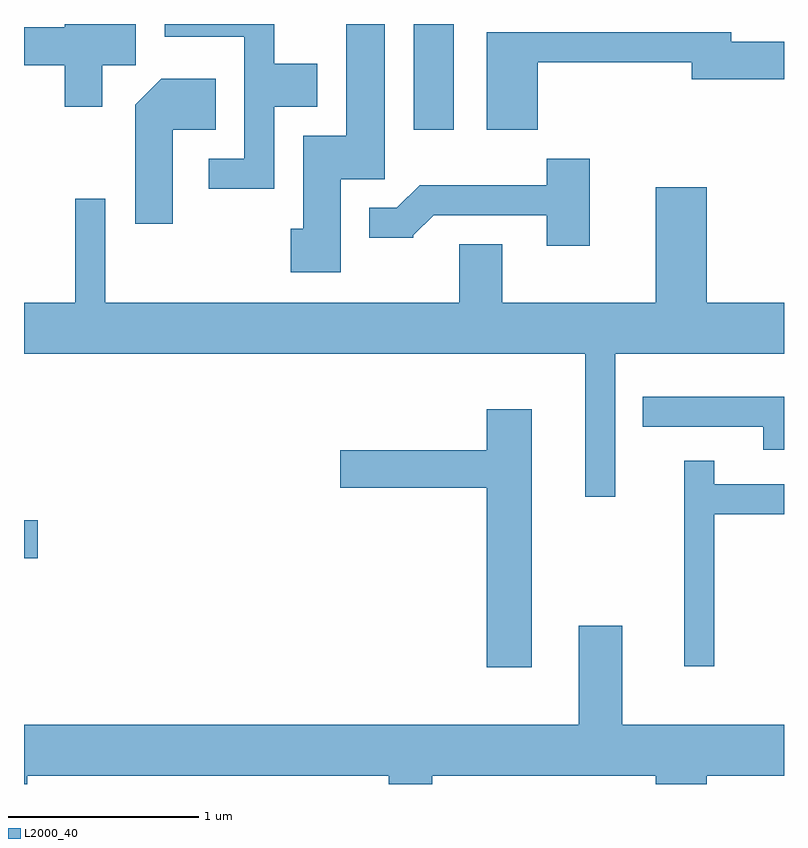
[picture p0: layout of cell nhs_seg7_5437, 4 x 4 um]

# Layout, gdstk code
import gdstk
lib = gdstk.Library(unit=1e-6, precision=1e-09)
def R(c, l, rs):  # rectangles x0, y0, x1, y1
    for r in rs: c.add(gdstk.rectangle(r[:2], r[2:], *l))
def P(c, l, *ps):  # polygons
    for p in ps: c.add(gdstk.Polygon(p, *l))
L2000_40 = (2000, 40)

nhs_seg7_5437 = lib.new_cell('nhs_seg7_5437')
R(nhs_seg7_5437, L2000_40, [(351.611,1735.441,351.684,1735.639), (353.661,1737.696,353.874,1738.252)])
P(nhs_seg7_5437, L2000_40, [(353.279,1737.436),(353.509,1737.436),(353.509,1738.252),(353.306,1738.252),(353.306,1737.664),(353.081,1737.664),(353.081,1737.174),(353.016,1737.174),(353.016,1736.946),(353.279,1736.946)],
  [(352.929,1737.816),(353.154,1737.816),(353.154,1738.044),(352.929,1738.044),(352.929,1738.252),(352.351,1738.252),(352.351,1738.186),(352.771,1738.186),(352.771,1737.544),(352.583,1737.544),(352.583,1737.386),(352.929,1737.386)],
  [(352.024,1738.036),(352.199,1738.036),(352.199,1738.252),(351.826,1738.252),(351.826,1738.234),(351.611,1738.234),(351.611,1738.036),(351.826,1738.036),(351.826,1737.816),(352.024,1737.816)],
  [(354.314,1738.051),(355.126,1738.051),(355.126,1737.961),(355.611,1737.961),(355.611,1738.159),(355.334,1738.159),(355.334,1738.209),(354.046,1738.209),(354.046,1737.696),(354.314,1737.696)],
  [(352.394,1737.696),(352.619,1737.696),(352.619,1737.964),(352.334,1737.964),(352.196,1737.827),(352.196,1737.201),(352.394,1737.201)],
  [(354.589,1737.544),(354.361,1737.544),(354.361,1737.404),(353.694,1737.404),(353.574,1737.284),(353.428,1737.284),(353.428,1737.126),(353.66,1737.126),(353.66,1737.14),(353.767,1737.246),(354.361,1737.246),(354.361,1737.086),(354.589,1737.086)],
  [(354.724,1736.516),(355.611,1736.516),(355.611,1736.784),(355.204,1736.784),(355.204,1737.394),(354.936,1737.394),(354.936,1736.784),(354.129,1736.784),(354.129,1737.094),(353.901,1737.094),(353.901,1736.784),(352.039,1736.784),(352.039,1737.333),(351.881,1737.333),(351.881,1736.784),(351.611,1736.784),(351.611,1736.516),(354.566,1736.516),(354.566,1735.763),(354.724,1735.763)],
  [(355.611,1736.289),(354.868,1736.289),(354.868,1736.131),(355.501,1736.131),(355.501,1736.011),(355.611,1736.011)],
  [(354.284,1736.224),(354.046,1736.224),(354.046,1736.009),(353.276,1736.009),(353.276,1735.811),(354.046,1735.811),(354.046,1734.866),(354.284,1734.866)],
  [(355.244,1735.671),(355.611,1735.671),(355.611,1735.829),(355.244,1735.829),(355.244,1735.953),(355.086,1735.953),(355.086,1734.873),(355.244,1734.873)],
  [(354.936,1734.252),(355.204,1734.252),(355.204,1734.296),(355.611,1734.296),(355.611,1734.564),(354.759,1734.564),(354.759,1735.084),(354.531,1735.084),(354.531,1734.564),(351.611,1734.564),(351.611,1734.252),(351.629,1734.252),(351.629,1734.296),(353.531,1734.296),(353.531,1734.252),(353.759,1734.252),(353.759,1734.296),(354.936,1734.296)])

lib.write_gds('nhs_seg7_5437.gds')
